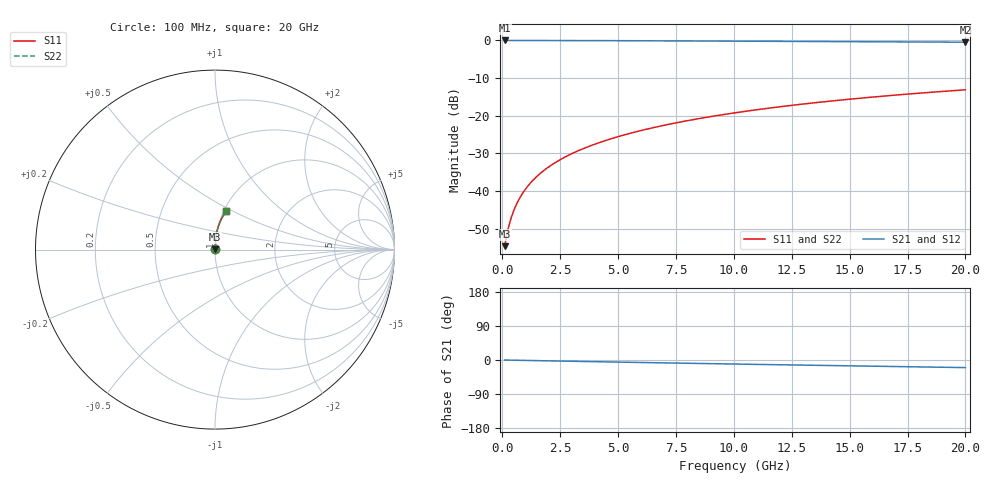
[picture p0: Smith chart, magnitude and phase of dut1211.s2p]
! Touchstone file exported from HFSS 2024.1.0
!  File:  C:/UserFiles/LocalFiles/RDL_TSV_Batchsim/temp_RDL_bottom_1211_1780243683.aedt
!  Generated:  12:10:50 AM Jun  1, 2026
!  Design:  RDL_bottom
!  Project:  temp_RDL_bottom_1211_1780243683
!  Setup:  Setup1
!  Solution:  Sweep
! Variables:
!  dtsv = 10.80580581um
!  hbump = 3um
!  htsv = 93.15um
!  ldown = 254.47um
!  lrdl = 100um
!  p = 40
!  p1 = 45.47um
!  rhole = 1um
!  t = 450um
!  tdown = 3.76um
!  trdl = 3.915915916um
!  wdown = 18.32um
!  wrdl = 20um
# GHz S MA R 50.000000
! Terminal data exported
! Port[1] = RDL1_T1
! Port[2] = RDL1_T2
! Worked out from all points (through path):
!   200 points, 100 MHz to 20 GHz, reference 50 ohm
!   highest |S21| = -0.01 dB at 100 MHz (marker M1); lowest = -0.5 dB at 20 GHz (marker M2)
!   group delay of S21, straight-line fit = 2.77 ps
!   lowest |S11| = -54.6 dB at 100 MHz (marker M3), VSWR 1.00, Z = 50.1 + j0.112 ohm
!   |S11| at or under -10 dB: start of sweep to end of sweep
!   |S22| runs from -54.6 to -13.1 dB; largest |S21 - S12| = 3.3e-15
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0.1  0.00186 36.9  0.9985 -0.1  0.9985 -0.1  0.00186 36.9
! Gamma 0 0 0 0
! Port Impedance 50 0 50 0
0.2  0.002685 54.9  0.9984 -0.2  0.9984 -0.2  0.002685 54.9
0.3  0.003618 63.8  0.9984 -0.4  0.9984 -0.4  0.003618 63.8
0.4  0.004583 69.1  0.9983 -0.5  0.9983 -0.5  0.004584 69.1
0.5  0.005567 72.5  0.9982 -0.6  0.9982 -0.6  0.005567 72.5
0.6  0.006562 75.0  0.9982 -0.7  0.9982 -0.7  0.006562 75.0
0.8  0.008577 78.3  0.998 -0.9  0.998 -0.9  0.008577 78.3
1.1  0.01164 81.1  0.9978 -1.3  0.9978 -1.3  0.01164 81.1
1.5  0.01575 83.2  0.9975 -1.7  0.9975 -1.7  0.01575 83.2
1.8  0.01885 84.1  0.9972 -2.0  0.9972 -2.0  0.01885 84.1
2.1  0.02197 84.7  0.9969 -2.4  0.9969 -2.4  0.02197 84.7
2.7  0.02824 85.5  0.996 -3.0  0.996 -3.0  0.02824 85.5
3.5  0.03668 86.0  0.9947 -3.9  0.9947 -3.9  0.03668 86.0
4.2  0.04416 86.2  0.9932 -4.7  0.9932 -4.7  0.04417 86.2
5  0.05282 86.2  0.9914 -5.5  0.9914 -5.5  0.05282 86.2
5.9  0.06269 85.9  0.9892 -6.5  0.9892 -6.5  0.06269 85.9
6.8  0.07268 85.6  0.9868 -7.4  0.9868 -7.4  0.07268 85.6
8.4  0.09069 84.6  0.9824 -9.1  0.9824 -9.1  0.09069 84.6
10.1  0.1101 83.3  0.9774 -10.8  0.9774 -10.8  0.1101 83.3
13.4  0.1478 80.4  0.9675 -13.9  0.9675 -13.9  0.1478 80.4
16.7  0.185 77.2  0.9573 -17.0  0.9573 -17.0  0.185 77.2
20  0.2211 74.0  0.9466 -20.1  0.9466 -20.1  0.2212 74.0
